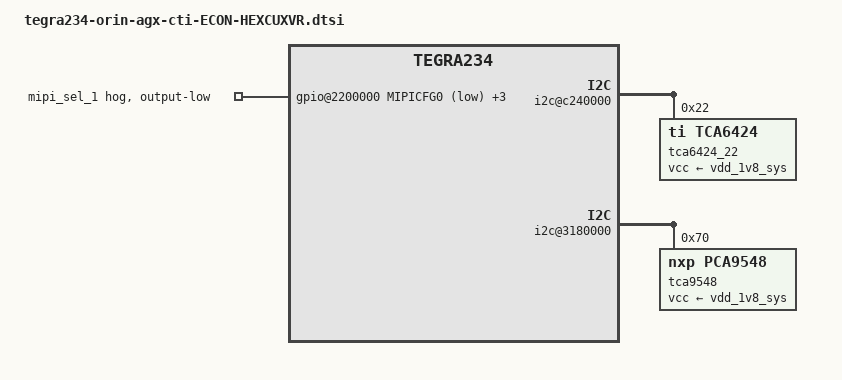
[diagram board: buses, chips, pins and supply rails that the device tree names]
/*
 * Copyright (c) 2022, Connect Tech Inc.  All rights reserved.
 *
 * This program is free software; you can redistribute it and/or modify it
 * under the terms and conditions of the GNU General Public License,
 * version 2, as published by the Free Software Foundation.
 *
 * This program is distributed in the hope it will be useful, but WITHOUT
 * ANY WARRANTY; without even the implied warranty of MERCHANTABILITY or
 * FITNESS FOR A PARTICULAR PURPOSE.  See the GNU General Public License for
 * more details.
 *
 * You should have received a copy of the GNU General Public License
 * along with this program.  If not, see <http://www.gnu.org/licenses/>.
 */


#include "dt-bindings/gpio/tegra234-gpio.h"
#include "dt-bindings/clock/tegra234-clock.h"

#define IO_EXP_RST  TEGRA234_MAIN_GPIO(AC, 1)
#define MIPICFG0    TEGRA234_MAIN_GPIO(I, 0)
#define MIPICFG1    TEGRA234_MAIN_GPIO(H, 7)
#define MIPICFG2    TEGRA234_MAIN_GPIO(AC, 0)


/ {
    /* setting Mipi cfg GPIO for lane Configuration */
    gpio@2200000 {
        mipi-cfg-gpios {
            gpio-hog;
            output-low;
            gpios = <MIPICFG0 1 MIPICFG1 1 MIPICFG2 0 IO_EXP_RST 1>;
            label = "mipi_sel_1", "mipi_sel_2", "mipi_sel_3", "cam_ioexp_rst";
            status = "okay";
        };
    };

    i2c@c240000{
        status = "okay";
        #address-cells = <1>;
        #size-cells = <0>;
       tca6424_22: tca6424@22 {
            compatible = "ti,tca6424";
            gpio-controller;
            #gpio-cells = <2>;
            reg = <0x22>;
            vcc-supply = <&vdd_1v8_sys>;
            status = "okay";
            tca6424_22_outlow {
                /*
                 * GPIO-0  : RST_CAM1
                 * GPIO-1  : RST_CAM2
                 * GPIO-2  : RST_CAM3
                 * GPIO-3  : RST_CAM4
                 * GPIO-4  : RST_CAM5
                 * GPIO-5  : RST_CAM6
                 * GPIO-6  : PWDN_CAM1
                 * GPIO-7  : PWDN_CAM2
                 * GPIO-8  : PWDN_CAM3
                 * GPIO-9  : PWDN_CAM4
                 * GPIO-10 : PWDN_CAM5
                 * GPIO-11 : PWDN_CAM6
                 */

                gpio-hog;
                gpios = <0 0 1 0 2 0 3 0 4 0 5 0 6 0 7 0 8 0 9 0 10 0 11 0 12 0 13 0 14 0 15 0 22 0 23 0>;
                output-low;
                label = "tca6424_22_reset-cam0_0",
                    "tca6424_22_reset-cam1_1",
                    "tca6424_22_reset-cam2_2",
                    "tca6424_22_reset-cam3_3",
                    "tca6424_22_reset-cam4_4",
                    "tca6424_22_reset-cam5_5",
                    "tca6424_22_boot-cam0_6",
                    "tca6424_22_boot-cam1_7",
                    "tca6424_22_boot-cam2_8",
                    "tca6424_22_boot-cam3_9",
                    "tca6424_22_boot-cam4_10",
                    "tca6424_22_boot-cam5_11",
                    "tca6424_22_flash-cam0_12",
                    "tca6424_22_flash-cam1_13";
            };
            tca6424_22_outhigh {
                status= "disabled";
            };
            tca6424_22_input {
            //  status = "disabled";
                gpio-hog;
                gpios = < 16 0 17 0 18 0 19 0 20 0 21 0>;
                output-low;
                label = "tca6424_22_spi_cam0_16",
                      "tca6424_22_spi_cam1_17",
                      "tca6424_22_spi_cam2_18",
                      "tca6424_22_spi_cam3_19",
                      "tca6424_22_spi_cam4_20",
                      "tca6424_22_spi_cam5_21";
            };
        };
    };

    i2c@3180000 {
        status = "okay";
        #address-cells = <1>;
        #size-cells = <0>;
        tca9548@70 {
            compatible = "nxp,pca9548";
            reg = <0x70>;
            #address-cells = <1>;
            #size-cells = <0>;
            vcc-supply = <&vdd_1v8_sys>;
            skip_mux_detect;
            force_bus_start = <30>;

            i2c@0 {
                reg = <0>;
                i2c-mux,deselect-on-exit;
                #address-cells = <1>;
                #size-cells = <0>;
                status = "disabled";
            };
            i2c@2 {
                reg = <2>;
                i2c-mux,deselect-on-exit;
                #address-cells = <1>;
                #size-cells = <0>;
                status = "disabled";
            };
            i2c@4 {
                reg = <4>;
                i2c-mux,deselect-on-exit;
                #address-cells = <1>;
                #size-cells = <0>;
                status = "disabled";
            };
            i2c@5 {
                reg = <5>;
                i2c-mux,deselect-on-exit;
                #address-cells = <1>;
                #size-cells = <0>;
                status = "disabled";
            };
        };
    };
};

